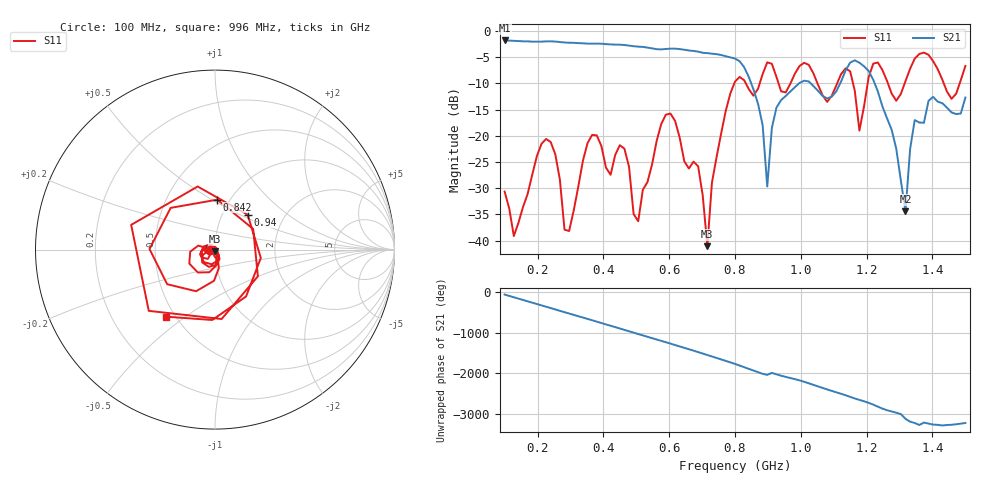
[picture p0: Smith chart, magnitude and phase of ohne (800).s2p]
! NanoVNA-App
! Date: 2025-09-25 14:27:01
! Start: 100MHz Stop: 1,5GHz Points: 101
! S-Parameter data: F S11 S21 S12 S22
# Hz S RI R 50
!  Frequency  S11_Real  S11_Imag  S21_Real  S21_Imag  S12_Real  S12_Imag  S22_Real  S22_Imag
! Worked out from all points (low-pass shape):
!   101 points, 100 MHz to 1.5 GHz, reference 50 ohm
!   highest |S21| = -1.79 dB at 100 MHz (marker M1); lowest = -34.4 dB at 1.318 GHz (marker M2)
!   |S21| within 3 dB of the highest: start of sweep to 771.4 MHz
!   lowest |S11| = -41.1 dB at 716 MHz (marker M3), VSWR 1.02, Z = 49.7 - j0.84 ohm
!   |S11| at or under -10 dB: start of sweep to 797.8 MHz; 833 MHz to 875 MHz (42.06 MHz wide, 4.92 % of centre); 1.051 GHz to 1.11 GHz (59.75 MHz wide, 5.53 % of centre) (the widest 3 of 7)
!   S12 and S22 are empty: the file has one direction only
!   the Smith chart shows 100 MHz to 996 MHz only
!   S11 on the Smith chart (normalised r, x): 100 MHz: 0.94, -0.01; 842 MHz: 0.88, +0.53; 940 MHz: 1.31, +0.55; 996 MHz: 0.44, -0.42
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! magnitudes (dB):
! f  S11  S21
! 100 MHz  -30.6  -1.8
! 128 MHz  -39.1  -1.9
! 226 MHz  -20.6  -2.0
! 296 MHz  -38.2  -2.2
! 338 MHz  -24.7  -2.3
! 464 MHz  -22.5  -2.7
! 506 MHz  -36.3  -3.0
! 576 MHz  -17.7  -3.5
! 688 MHz  -25.8  -3.9
! 716 MHz  -41.1  -4.2
! 800 MHz  -9.7  -5.2
! 842 MHz  -11.1  -8.8
! 898 MHz  -6.0  -29.7
! 940 MHz  -11.5  -13.2
! 996 MHz  -6.7  -9.9
! 1.038 GHz  -8.0  -10.5
! 1.178 GHz  -19.0  -6.0
! 1.22 GHz  -6.2  -9.3
! 1.276 GHz  -11.9  -18.8
! 1.318 GHz  -9.6  -34.4
! 1.346 GHz  -5.3  -17.0
! 1.5 GHz  -6.7  -12.7
